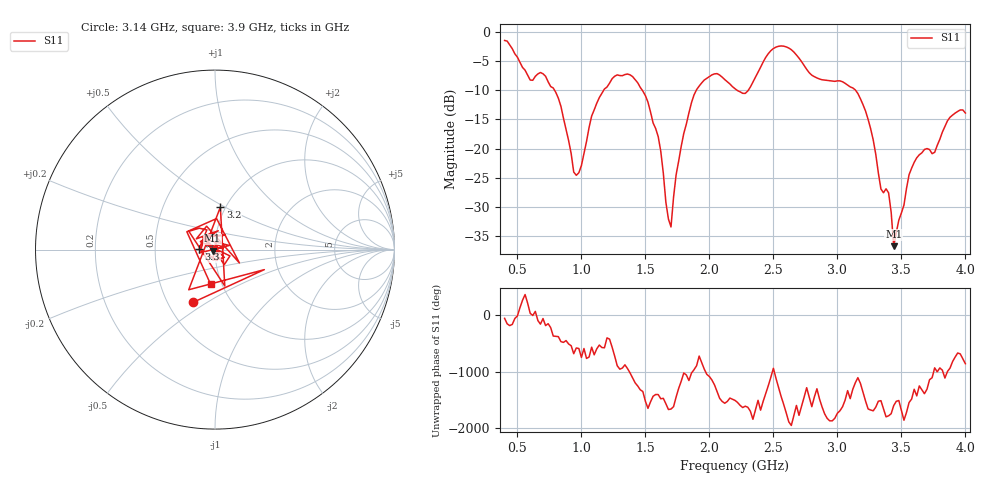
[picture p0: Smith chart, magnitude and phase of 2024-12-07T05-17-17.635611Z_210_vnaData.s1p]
!Created with skrf (http://scikit-rf.org).
# Hz S RI R 50.0
!freq ReS11 ImS11
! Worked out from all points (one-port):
!   181 points, 400 MHz to 4 GHz, reference 50 ohm
!   lowest |S11| = -36.7 dB at 3.44 GHz (marker M1), VSWR 1.03, Z = 48.7 - j0.591 ohm
!   |S11| at or under -10 dB: 790.5 MHz to 1.174 GHz (383.5 MHz wide, 39 % of centre); 1.476 GHz to 1.897 GHz (421.7 MHz wide, 25 % of centre); 3.142 GHz to end of sweep (the widest 3 of 4)
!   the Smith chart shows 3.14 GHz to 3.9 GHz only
!   S11 on the Smith chart (normalised r, x): 3.14 GHz: 0.67, -0.44; 3.2 GHz: 0.95, +0.47; 3.3 GHz: 0.84, +0.01; 3.9 GHz: 0.89, -0.35
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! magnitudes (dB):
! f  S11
! 400 MHz  -1.5
! 600 MHz  -8.2
! 720 MHz  -7.6
! 860 MHz  -14.8
! 960 MHz  -24.6
! 1.12 GHz  -12.2
! 1.3 GHz  -7.5
! 1.52 GHz  -12.0
! 1.6 GHz  -17.9
! 1.7 GHz  -33.4
! 1.76 GHz  -22.1
! 1.92 GHz  -9.3
! 2.06 GHz  -7.1
! 2.2 GHz  -9.7
! 2.3 GHz  -10.1
! 2.5 GHz  -2.8
! 2.66 GHz  -3.4
! 3.1 GHz  -9.4
! 3.14 GHz  -9.9
! 3.2 GHz  -12.5
! 3.3 GHz  -21.0
! 3.34 GHz  -26.9
! 3.4 GHz  -27.6
! 3.44 GHz  -36.7
! 3.56 GHz  -24.5
! 3.76 GHz  -20.6
! 3.9 GHz  -14.2
! 4 GHz  -13.9
